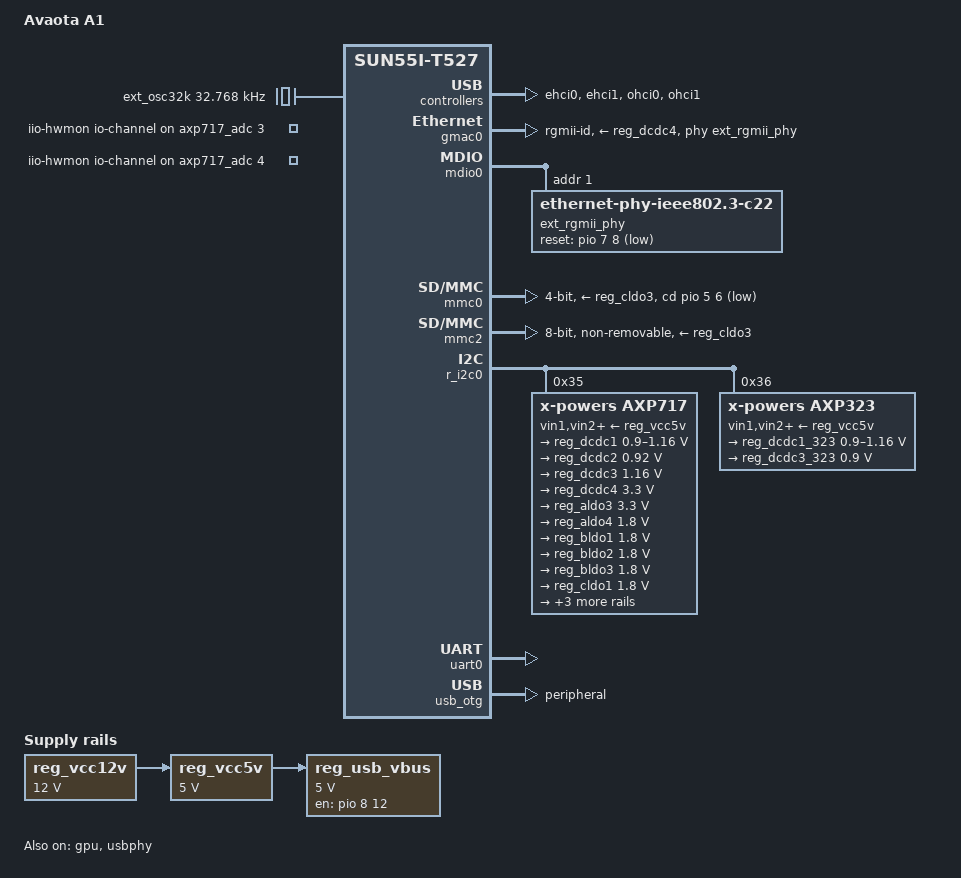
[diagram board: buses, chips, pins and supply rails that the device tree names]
// SPDX-License-Identifier: (GPL-2.0-only OR MIT)
// Copyright (C) 2024 Arm Ltd.

/dts-v1/;

#include "sun55i-a523.dtsi"

#include <dt-bindings/gpio/gpio.h>

/ {
	model = "Avaota A1";
	compatible = "yuzukihd,avaota-a1", "allwinner,sun55i-t527";

	aliases {
		ethernet0 = &gmac0;
		serial0 = &uart0;
	};

	chosen {
		stdout-path = "serial0:115200n8";
	};

	ext_osc32k: ext-osc32k-clk {
		#clock-cells = <0>;
		compatible = "fixed-clock";
		clock-frequency = <32768>;
		clock-output-names = "ext_osc32k";
	};

	iio-hwmon {
		compatible = "iio-hwmon";
		io-channels = <&axp717_adc 3>, /* vsys_v */
			      <&axp717_adc 4>; /* pmic_temp */
	};

	reg_vcc12v: vcc12v {
		/* DC input jack */
		compatible = "regulator-fixed";
		regulator-name = "vcc-12v";
		regulator-min-microvolt = <12000000>;
		regulator-max-microvolt = <12000000>;
		regulator-always-on;
	};

	reg_vcc5v: vcc5v {
		/* board wide 5V supply from the 12V->5V regulator */
		compatible = "regulator-fixed";
		regulator-name = "vcc-5v";
		regulator-min-microvolt = <5000000>;
		regulator-max-microvolt = <5000000>;
		vin-supply = <&reg_vcc12v>;
		regulator-always-on;
	};

	reg_usb_vbus: vbus {
		compatible = "regulator-fixed";
		regulator-name = "usb-vbus";
		regulator-min-microvolt = <5000000>;
		regulator-max-microvolt = <5000000>;
		vin-supply = <&reg_vcc5v>;
		gpio = <&pio 8 12 GPIO_ACTIVE_HIGH>;	/* PI12 */
		enable-active-high;
	};
};

&ehci0 {
	status = "okay";
};

&ehci1 {
	status = "okay";
};

&gmac0 {
	phy-mode = "rgmii-id";
	phy-handle = <&ext_rgmii_phy>;
	phy-supply = <&reg_dcdc4>;

	allwinner,tx-delay-ps = <100>;
	allwinner,rx-delay-ps = <300>;

	status = "okay";
};

&gpu {
	mali-supply = <&reg_dcdc2>;
	status = "okay";
};

&mdio0 {
	ext_rgmii_phy: ethernet-phy@1 {
		compatible = "ethernet-phy-ieee802.3-c22";
		reg = <1>;
		reset-gpios = <&pio 7 8 GPIO_ACTIVE_LOW>; /* PH8 */
		reset-assert-us = <10000>;
		reset-deassert-us = <150000>;
	};
};

&mmc0 {
	vmmc-supply = <&reg_cldo3>;
	cd-gpios = <&pio 5 6 (GPIO_ACTIVE_LOW | GPIO_PULL_UP)>; /* PF6 */
	bus-width = <4>;
	status = "okay";
};

&mmc2 {
	bus-width = <8>;
	cap-mmc-hw-reset;
	mmc-ddr-1_8v;
	mmc-hs200-1_8v;
	non-removable;
	vmmc-supply = <&reg_cldo3>;
	vqmmc-supply = <&reg_cldo1>;
	status = "okay";
};

&ohci0 {
	status = "okay";
};

&ohci1 {
	status = "okay";
};

&pio {
	vcc-pb-supply = <&reg_cldo3>;	/* via VCC-IO */
	vcc-pc-supply = <&reg_cldo1>;
	vcc-pd-supply = <&reg_dcdc4>;
	vcc-pe-supply = <&reg_dcdc4>;
	vcc-pf-supply = <&reg_cldo3>;	/* actually switchable */
	vcc-pg-supply = <&reg_bldo1>;
	vcc-ph-supply = <&reg_cldo3>;	/* via VCC-IO */
	vcc-pi-supply = <&reg_dcdc4>;
	vcc-pj-supply = <&reg_dcdc4>;
	vcc-pk-supply = <&reg_bldo3>;
};

&r_i2c0 {
	status = "okay";

	axp717: pmic@35 {
		compatible = "x-powers,axp717";
		reg = <0x35>;
		interrupt-controller;
		#interrupt-cells = <1>;
		interrupt-parent = <&nmi_intc>;
		interrupts = <0 IRQ_TYPE_LEVEL_LOW>;

		vin1-supply = <&reg_vcc5v>;
		vin2-supply = <&reg_vcc5v>;
		vin3-supply = <&reg_vcc5v>;
		vin4-supply = <&reg_vcc5v>;
		aldoin-supply = <&reg_vcc5v>;
		bldoin-supply = <&reg_vcc5v>;
		cldoin-supply = <&reg_vcc5v>;

		axp717_adc: adc {
			compatible = "x-powers,axp717-adc";
			#io-channel-cells = <1>;
		};

		battery-power {
			compatible = "x-powers,axp717-battery-power-supply";
			/* no battery; output used for dcdc4 instead */
			status = "disabled";
		};

		regulators {
			/* Supplies the "little" cluster (1.4 GHz cores) */
			reg_dcdc1: dcdc1 {
				regulator-always-on;
				regulator-min-microvolt = <900000>;
				regulator-max-microvolt = <1160000>;
				regulator-name = "vdd-cpul";
			};

			reg_dcdc2: dcdc2 {
				regulator-always-on;
				regulator-min-microvolt = <920000>;
				regulator-max-microvolt = <920000>;
				regulator-name = "vdd-gpu-sys";
			};

			reg_dcdc3: dcdc3 {
				regulator-always-on;
				regulator-min-microvolt = <1160000>;
				regulator-max-microvolt = <1160000>;
				regulator-name = "vdd-dram";
			};

			reg_dcdc4: dcdc4 {
				regulator-always-on;
				regulator-min-microvolt = <3300000>;
				regulator-max-microvolt = <3300000>;
				regulator-name = "vdd-io";
			};

			reg_aldo1: aldo1 {
				/* not connected */
			};

			reg_aldo2: aldo2 {
				/* not connected */
			};

			reg_aldo3: aldo3 {
				/* supplies the I2C pins for this PMIC */
				regulator-always-on;
				regulator-min-microvolt = <3300000>;
				regulator-max-microvolt = <3300000>;
				regulator-name = "vcc-pl-pm";
			};

			reg_aldo4: aldo4 {
				regulator-always-on;
				regulator-min-microvolt = <1800000>;
				regulator-max-microvolt = <1800000>;
				regulator-name = "vcc-pll-dxco-avcc";
			};

			reg_bldo1: bldo1 {
				regulator-min-microvolt = <1800000>;
				regulator-max-microvolt = <1800000>;
				regulator-name = "vcc-pg-wifi-lvds";
			};

			reg_bldo2: bldo2 {
				regulator-always-on;
				regulator-min-microvolt = <1800000>;
				regulator-max-microvolt = <1800000>;
				regulator-name = "vcc-dram-1v8";
			};

			reg_bldo3: bldo3 {
				regulator-min-microvolt = <1800000>;
				regulator-max-microvolt = <1800000>;
				regulator-name = "vcc-cvp-pk-vid1v8";
			};

			reg_bldo4: bldo4 {
				/* not connected */
			};

			reg_cldo1: cldo1 {
				regulator-min-microvolt = <1800000>;
				regulator-max-microvolt = <1800000>;
				regulator-name = "vcc-pc";
			};

			reg_cldo2: cldo2 {
				regulator-min-microvolt = <1800000>;
				regulator-max-microvolt = <1800000>;
				regulator-name = "vcc-efuse";
			};

			reg_cldo3: cldo3 {
				regulator-min-microvolt = <3300000>;
				regulator-max-microvolt = <3300000>;
				regulator-name = "vcc-io-mmc-spi-ana";
			};

			reg_cldo4: cldo4 {
				/* not connected */
			};

			reg_cpusldo: cpusldo {
				/* supplies the management core */
				regulator-always-on;
				regulator-min-microvolt = <900000>;
				regulator-max-microvolt = <900000>;
				regulator-name = "vdd-cpus";
			};
		};

		usb-power {
			compatible = "x-powers,axp717-usb-power-supply";
			/* 12V-5V buck converter can supply up to 5A */
			input-current-limit-microamp = <3250000>;
		};
	};

	axp323: pmic@36 {
		compatible = "x-powers,axp323";
		reg = <0x36>;
		#interrupt-cells = <1>;
		interrupt-controller;
		interrupt-parent = <&nmi_intc>;
		interrupts = <0 IRQ_TYPE_LEVEL_LOW>;
		status = "okay";

		vin1-supply = <&reg_vcc5v>;
		vin2-supply = <&reg_vcc5v>;
		vin3-supply = <&reg_vcc5v>;

		regulators {
			aldo1 {
				/* not connected */
			};

			dldo1 {
				/* not connected */
			};

			/* Supplies the "big" cluster (1.8 GHz cores) */
			reg_dcdc1_323: dcdc1 {
				regulator-always-on;
				regulator-min-microvolt = <900000>;
				regulator-max-microvolt = <1160000>;
				regulator-name = "vdd-cpub";
			};

			/* DCDC2 is polyphased with DCDC1 */

			/* Some RISC-V management core related voltage */
			reg_dcdc3_323: dcdc3 {
				regulator-always-on;
				regulator-min-microvolt = <900000>;
				regulator-max-microvolt = <900000>;
				regulator-name = "vdd-dnr";
			};
		};
	};
};

&r_pio {
/*
 * Specifying the supply would create a circular dependency.
 *
 *	vcc-pl-supply = <&reg_aldo3>;
 */
	vcc-pm-supply = <&reg_aldo3>;
};

&rtc {
	clocks = <&r_ccu CLK_BUS_R_RTC>, <&osc24M>,
		 <&r_ccu CLK_R_AHB>, <&ext_osc32k>;
	clock-names = "bus", "hosc", "ahb", "ext-osc32k";
	assigned-clocks = <&rtc CLK_OSC32K>;
	assigned-clock-rates = <32768>;
};

&uart0 {
	pinctrl-names = "default";
	pinctrl-0 = <&uart0_pb_pins>;
	status = "okay";
};

&usb_otg {
	 /*
	  * The CC pins of the USB-C port have two pull-down resistors
	  * connected to GND, which fixes this port to a peripheral role.
	  * There is a regulator, controlled by a GPIO, to provide VBUS power
	  * to the port, and a VBUSDET GPIO, to detect externally provided
	  * power, but without the CC pins there is no real way to do a
	  * runtime role detection.
	  */
	dr_mode = "peripheral";
	status = "okay";
};

&usbphy {
	usb0_vbus-supply = <&reg_usb_vbus>;
	usb0_vbus_det-gpios = <&pio 8 13 GPIO_ACTIVE_HIGH>; /* PI13 */
	status = "okay";
};
